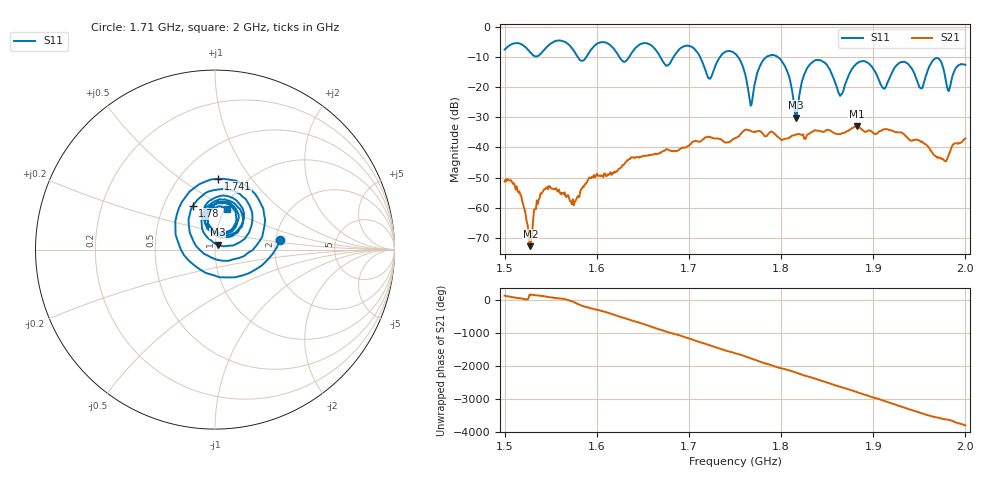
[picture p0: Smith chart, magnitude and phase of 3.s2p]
! NanoVNA-App by SYSJOINT et al v1.1.209 (+OD18)
! Date: 2026-01-21 14:22:55
! Start: 1,5GHz Stop: 2GHz Points: 501
! S-Parameter data: F S11 S21 S12 S22
# Hz S RI R 50
!  Frequency  S11_Real  S11_Imag  S21_Real  S21_Imag  S12_Real  S12_Imag  S22_Real  S22_Imag
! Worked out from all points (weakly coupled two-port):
!   501 points, 1.5 GHz to 2 GHz, reference 50 ohm
!   highest |S21| = -32.87 dB at 1.882 GHz (marker M1); lowest = -72.8 dB at 1.528 GHz (marker M2)
!   lowest |S11| = -30.1 dB at 1.816 GHz (marker M3), VSWR 1.06, Z = 51.5 + j2.8 ohm
!   |S11| at or under -10 dB: 1.712 GHz to 1.734 GHz (21.38 MHz wide, 1.24 % of centre); 1.754 GHz to 1.784 GHz (30.28 MHz wide, 1.71 % of centre); 1.796 GHz to end of sweep (the widest 3 of 6)
!   S12 and S22 are empty: the file has one direction only
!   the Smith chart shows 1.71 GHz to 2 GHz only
!   S11 on the Smith chart (normalised r, x): 1.71 GHz: 2.11, +0.26; 1.741 GHz: 0.76, +0.71; 1.78 GHz: 0.70, +0.37; 2 GHz: 1.02, +0.49
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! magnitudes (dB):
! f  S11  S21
! 1.5 GHz  -7.5  -51.3
! 1.517 GHz  -5.6  -55.7
! 1.528 GHz  -8.5  -72.8
! 1.544 GHz  -7.2  -53.8
! 1.584 GHz  -11.2  -53.7
! 1.606 GHz  -5.0  -49.5
! 1.667 GHz  -8.9  -42.0
! 1.71 GHz  -8.7  -38.0
! 1.723 GHz  -17.2  -36.5
! 1.741 GHz  -8.1  -38.3
! 1.75 GHz  -8.8  -36.9
! 1.767 GHz  -26.1  -34.4
! 1.78 GHz  -11.3  -35.4
! 1.802 GHz  -11.9  -37.4
! 1.816 GHz  -30.1  -35.8
! 1.834 GHz  -11.7  -34.7
! 1.865 GHz  -22.5  -35.5
! 1.882 GHz  -12.1  -32.9
! 1.917 GHz  -17.4  -34.2
! 1.977 GHz  -14.9  -44.4
! 1.982 GHz  -21.3  -42.4
! 2 GHz  -12.5  -37.0
